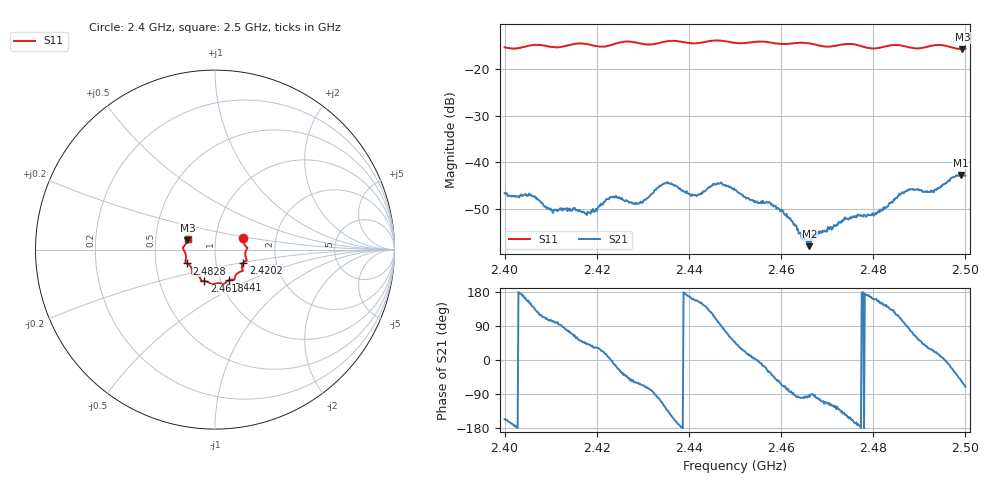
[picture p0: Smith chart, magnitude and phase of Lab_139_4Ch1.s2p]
# Hz S RI R 50
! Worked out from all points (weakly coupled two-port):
!   601 points, 2.4 GHz to 2.5 GHz, reference 50 ohm
!   highest |S21| = -42.69 dB at 2.499 GHz (marker M1); lowest = -57.9 dB at 2.4662 GHz (marker M2)
!   lowest |S11| = -15.8 dB at 2.4993 GHz (marker M3), VSWR 1.39, Z = 36.5 + j3.89 ohm
!   |S11| at or under -10 dB: start of sweep to end of sweep
!   S12 and S22 are empty: the file has one direction only
!   S11 on the Smith chart (normalised r, x): 2.4 GHz: 1.36, +0.17; 2.4202 GHz: 1.36, -0.20; 2.441 GHz: 1.10, -0.39; 2.4618 GHz: 0.84, -0.30; 2.4828 GHz: 0.72, -0.11; 2.5 GHz: 0.73, +0.09
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2.4e9  0.1583 0.0619  -0.00427 -0.00188  0 0  0 0
2.410167e9  0.1715 -0.00852  -0.00073 0.00298  0 0  0 0
2.416667e9  0.1769 -0.0603  0.00187 0.00228  0 0  0 0
2.420167e9  0.1581 -0.072  0.00276 0.00169  0 0  0 0
2.423667e9  0.1507 -0.1043  0.00424 -0.000728  0 0  0 0
2.4295e9  0.1406 -0.1227  0.00164 -0.00344  0 0  0 0
2.433333e9  0.1117 -0.1509  -0.000982 -0.00529  0 0  0 0
2.435667e9  0.1094 -0.1656  -0.00449 -0.00399  0 0  0 0
2.441e9  0.0781 -0.1703  -0.00418 0.00152  0 0  0 0
2.4465e9  0.0487 -0.1948  -0.000926 0.00586  0 0  0 0
2.45e9  0.0278 -0.1875  0.00337 0.00376  0 0  0 0
2.461833e9  -0.0599 -0.1757  0.000264 -0.00248  0 0  0 0
2.466167e9  -0.0778 -0.1702  -0.000174 -0.00126  0 0  0 0
2.466667e9  -0.0787 -0.1677  -9.7e-06 -0.00149  0 0  0 0
2.474e9  -0.1253 -0.1348  -0.00206 -0.00138  0 0  0 0
2.482833e9  -0.1571 -0.0769  -0.00271 0.0019  0 0  0 0
2.483333e9  -0.1602 -0.0754  -0.00269 0.00228  0 0  0 0
2.487667e9  -0.162 -0.0527  0.000495 0.00511  0 0  0 0
2.492667e9  -0.1767 0.00277  0.00439 0.00234  0 0  0 0
2.499e9  -0.1557 0.0473  0.00443 -0.00585  0 0  0 0
2.499333e9  -0.1541 0.0519  0.00367 -0.00627  0 0  0 0
2.5e9  -0.1525 0.0612  0.00234 -0.00682  0 0  0 0
